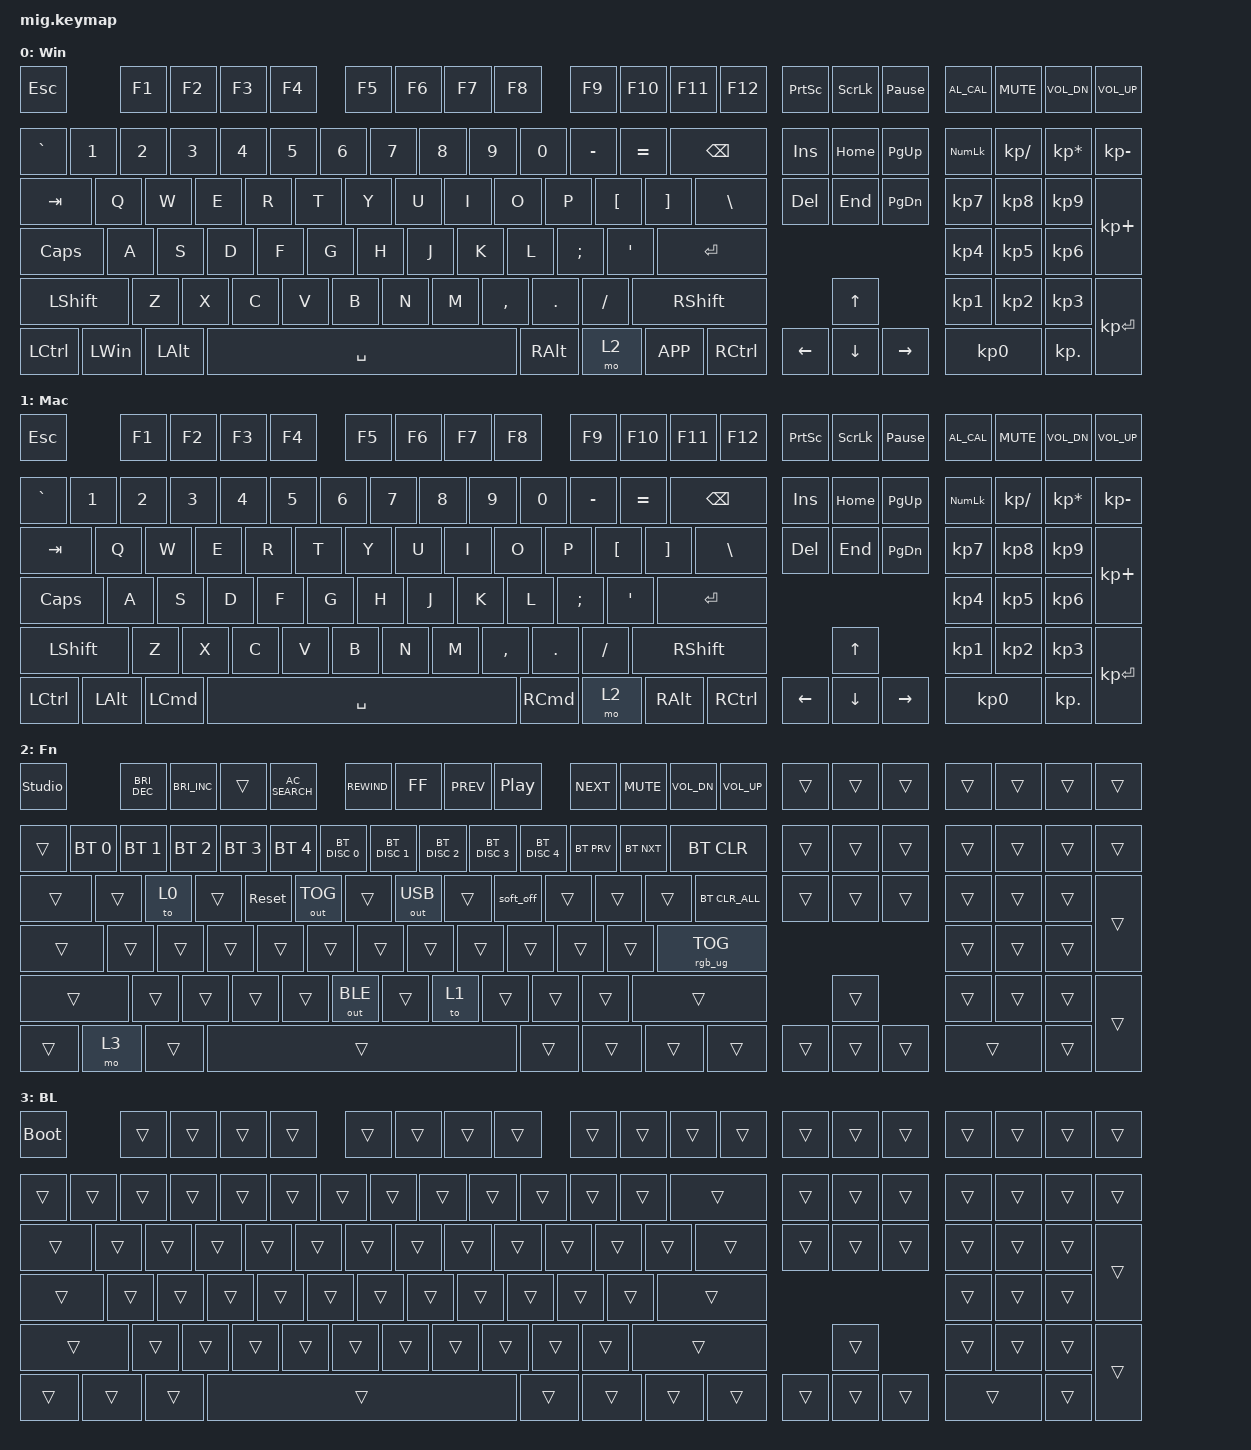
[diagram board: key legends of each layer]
#include <behaviors.dtsi>
#include <dt-bindings/zmk/bt.h>
#include <dt-bindings/zmk/keys.h>
#include <dt-bindings/zmk/outputs.h>
#include <dt-bindings/zmk/rgb.h>

/ {
    keymap {
        compatible = "zmk,keymap";

        Win {
            bindings = <
&kp ESC                 &kp F1    &kp F2  &kp F3  &kp F4  &kp F5     &kp F6  &kp F7  &kp F8     &kp F9         &kp F10           &kp F11            &kp F12        &kp PRINTSCREEN  &kp SCROLLLOCK  &kp PAUSE_BREAK  &kp C_AL_CAL  &kp C_MUTE     &kp C_VOL_DN     &kp C_VOL_UP
&kp GRAVE     &kp N1    &kp N2    &kp N3  &kp N4  &kp N5  &kp N6     &kp N7  &kp N8  &kp N9     &kp N0         &kp MINUS         &kp EQUAL          &kp BACKSPACE  &kp INS          &kp HOME        &kp PG_UP        &kp KP_NLCK   &kp KP_DIVIDE  &kp KP_MULTIPLY  &kp KP_MINUS
&kp TAB       &kp Q     &kp W     &kp E   &kp R   &kp T   &kp Y      &kp U   &kp I   &kp O      &kp P          &kp LEFT_BRACKET  &kp RIGHT_BRACKET  &kp BACKSLASH  &kp DELETE       &kp END         &kp PG_DN        &kp KP_N7     &kp KP_N8      &kp KP_N9        &kp KP_PLUS
&kp CAPSLOCK  &kp A     &kp S     &kp D   &kp F   &kp G   &kp H      &kp J   &kp K   &kp L      &kp SEMICOLON  &kp SQT                              &kp ENTER                                                        &kp KP_N4     &kp KP_N5      &kp KP_N6
&kp LSHFT               &kp Z     &kp X   &kp C   &kp V   &kp B      &kp N   &kp M   &kp COMMA  &kp DOT        &kp SLASH                            &kp RSHFT                       &kp UP                           &kp KP_N1     &kp KP_N2      &kp KP_N3        &kp KP_ENTER
&kp LCTRL     &kp LWIN  &kp LALT                          &kp SPACE                             &kp RALT       &mo 2             &kp K_APP          &kp RCTRL      &kp LEFT         &kp DOWN        &kp RIGHT        &kp KP_N0                    &kp KP_DOT
            >;
        };

        Mac {
            bindings = <
&kp ESC                 &kp F1            &kp F2  &kp F3  &kp F4  &kp F5     &kp F6  &kp F7  &kp F8     &kp F9             &kp F10           &kp F11            &kp F12        &kp PRINTSCREEN  &kp SCROLLLOCK  &kp PAUSE_BREAK  &kp C_AL_CAL  &kp C_MUTE     &kp C_VOL_DN     &kp C_VOL_UP
&kp GRAVE     &kp N1    &kp N2            &kp N3  &kp N4  &kp N5  &kp N6     &kp N7  &kp N8  &kp N9     &kp N0             &kp MINUS         &kp EQUAL          &kp BACKSPACE  &kp INS          &kp HOME        &kp PG_UP        &kp KP_NLCK   &kp KP_DIVIDE  &kp KP_MULTIPLY  &kp KP_MINUS
&kp TAB       &kp Q     &kp W             &kp E   &kp R   &kp T   &kp Y      &kp U   &kp I   &kp O      &kp P              &kp LEFT_BRACKET  &kp RIGHT_BRACKET  &kp BACKSLASH  &kp DELETE       &kp END         &kp PG_DN        &kp KP_N7     &kp KP_N8      &kp KP_N9        &kp KP_PLUS
&kp CAPSLOCK  &kp A     &kp S             &kp D   &kp F   &kp G   &kp H      &kp J   &kp K   &kp L      &kp SEMICOLON      &kp SQT                              &kp ENTER                                                        &kp KP_N4     &kp KP_N5      &kp KP_N6
&kp LSHFT               &kp Z             &kp X   &kp C   &kp V   &kp B      &kp N   &kp M   &kp COMMA  &kp DOT            &kp SLASH                            &kp RSHFT                       &kp UP                           &kp KP_N1     &kp KP_N2      &kp KP_N3        &kp KP_ENTER
&kp LCTRL     &kp LALT  &kp LEFT_COMMAND                          &kp SPACE                             &kp RIGHT_COMMAND  &mo 2             &kp RALT           &kp RCTRL      &kp LEFT         &kp DOWN        &kp RIGHT        &kp KP_N0                    &kp KP_DOT
            >;
        };

        Fn {
            bindings = <
&studio_unlock                &kp C_BRI_DEC  &kp C_BRI_INC  &trans        &kp C_AC_SEARCH  &kp C_REWIND   &kp C_FF       &kp C_PREV     &kp C_PLAY_PAUSE  &kp C_NEXT     &kp C_MUTE  &kp C_VOL_DN  &kp C_VOL_UP     &trans  &trans  &trans    &trans  &trans  &trans  &trans
&trans          &bt BT_SEL 0  &bt BT_SEL 1   &bt BT_SEL 2   &bt BT_SEL 3  &bt BT_SEL 4     &bt BT_DISC 0  &bt BT_DISC 1  &bt BT_DISC 2  &bt BT_DISC 3     &bt BT_DISC 4  &bt BT_PRV  &bt BT_NXT    &bt BT_CLR       &trans  &trans  &trans    &trans  &trans  &trans  &trans
&trans          &trans        &to 0          &trans         &sys_reset    &out OUT_TOG     &trans         &out OUT_USB   &trans         &soft_off         &trans         &trans      &trans        &bt BT_CLR_ALL   &trans  &trans  &trans    &trans  &trans  &trans  &trans
&trans          &trans        &trans         &trans         &trans        &trans           &trans         &trans         &trans         &trans            &trans         &trans                    &rgb_ug RGB_TOG                            &trans  &trans  &trans
&trans                        &trans         &trans         &trans        &trans           &out OUT_BLE   &trans         &to 1          &trans            &trans         &trans                    &trans                   &trans            &trans  &trans  &trans  &trans
&trans          &mo 3         &trans                                                       &trans                                                         &trans         &trans      &trans        &trans           &trans  &trans  &trans    &trans          &trans
            >;
        };

        BL {
            bindings = <
&bootloader          &trans  &trans  &trans  &trans  &trans  &trans  &trans  &trans  &trans  &trans  &trans  &trans  &trans  &trans  &trans  &trans  &trans  &trans  &trans
&trans       &trans  &trans  &trans  &trans  &trans  &trans  &trans  &trans  &trans  &trans  &trans  &trans  &trans  &trans  &trans  &trans  &trans  &trans  &trans  &trans
&trans       &trans  &trans  &trans  &trans  &trans  &trans  &trans  &trans  &trans  &trans  &trans  &trans  &trans  &trans  &trans  &trans  &trans  &trans  &trans  &trans
&trans       &trans  &trans  &trans  &trans  &trans  &trans  &trans  &trans  &trans  &trans  &trans          &trans                          &trans  &trans  &trans
&trans               &trans  &trans  &trans  &trans  &trans  &trans  &trans  &trans  &trans  &trans          &trans          &trans          &trans  &trans  &trans  &trans
&trans       &trans  &trans                          &trans                          &trans  &trans  &trans  &trans  &trans  &trans  &trans  &trans          &trans
            >;
        };
    };
};
